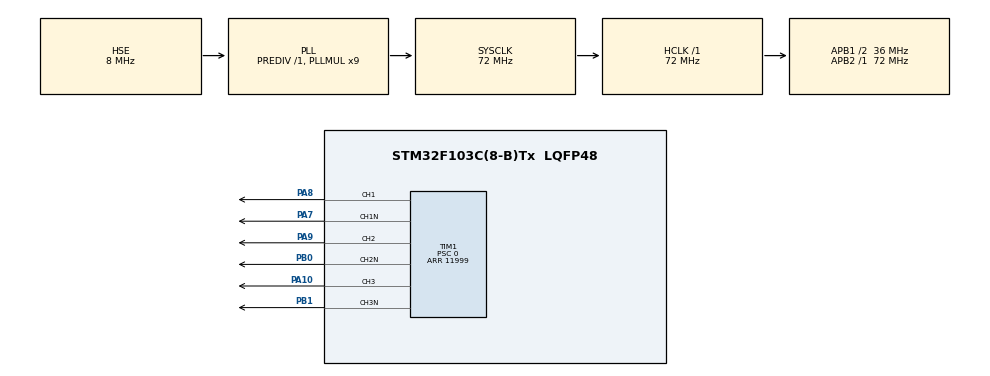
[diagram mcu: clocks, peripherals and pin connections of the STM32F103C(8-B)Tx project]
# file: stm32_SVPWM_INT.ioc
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Mcu.Family=STM32F1
Mcu.Name=STM32F103C(8-B)Tx
Mcu.Package=LQFP48
NVIC.PriorityGroup=NVIC_PRIORITYGROUP_4
NVIC.TIM1_CC_IRQn=true\:0\:0\:false\:false\:true\:true\:true\:true
NVIC.TIM1_TRG_COM_IRQn=true\:0\:0\:false\:false\:true\:true\:true\:true
NVIC.TIM1_UP_IRQn=true\:0\:0\:false\:false\:true\:true\:true\:true
NVIC.TIM2_IRQn=true\:0\:0\:false\:false\:true\:true\:true\:true
PA10.Signal=S_TIM1_CH3
PA7.Mode=PWM Generation1 CH1 CH1N
PA7.Signal=TIM1_CH1N
PA8.Signal=S_TIM1_CH1
PA9.Signal=S_TIM1_CH2
PB0.Mode=PWM Generation2 CH2 CH2N
PB0.Signal=TIM1_CH2N
PB1.Mode=PWM Generation3 CH3 CH3N
PB1.Signal=TIM1_CH3N
PD0-OSC_IN.Mode=HSE-External-Oscillator
PD0-OSC_IN.Signal=RCC_OSC_IN
PD1-OSC_OUT.Mode=HSE-External-Oscillator
PD1-OSC_OUT.Signal=RCC_OSC_OUT
ProjectManager.HeapSize=0x200
ProjectManager.StackSize=0x400
ProjectManager.TargetToolchain=STM32CubeIDE
RCC.AHBFreq_Value=72000000
RCC.APB1CLKDivider=RCC_HCLK_DIV2
RCC.APB1Freq_Value=36000000
RCC.APB1TimFreq_Value=72000000
RCC.APB2Freq_Value=72000000
RCC.APB2TimFreq_Value=72000000
RCC.HCLKFreq_Value=72000000
RCC.PLLMUL=RCC_PLL_MUL9
RCC.PLLSourceVirtual=RCC_PLLSOURCE_HSE
RCC.SYSCLKFreq_VALUE=72000000
RCC.SYSCLKSource=RCC_SYSCLKSOURCE_PLLCLK
RCC.USBFreq_Value=72000000
SH.S_TIM1_CH1.0=TIM1_CH1,PWM Generation1 CH1 CH1N
SH.S_TIM1_CH2.0=TIM1_CH2,PWM Generation2 CH2 CH2N
SH.S_TIM1_CH3.0=TIM1_CH3,PWM Generation3 CH3 CH3N
TIM1.Channel-PWM\ Generation1\ CH1\ CH1N=TIM_CHANNEL_1
TIM1.Channel-PWM\ Generation2\ CH2\ CH2N=TIM_CHANNEL_2
TIM1.Channel-PWM\ Generation3\ CH3\ CH3N=TIM_CHANNEL_3
TIM1.CounterMode=TIM_COUNTERMODE_CENTERALIGNED3
TIM1.DeadTime=172
TIM1.Period=11999
TIM1.Prescaler=0
TIM1.TIM_MasterOutputTrigger=TIM_TRGO_ENABLE
TIM2.CounterMode=TIM_COUNTERMODE_CENTERALIGNED3
TIM2.Period=19999
TIM2.Prescaler=0
TIM2.TIM_MasterOutputTrigger=TIM_TRGO_UPDATE
VP_TIM1_VS_ClockSourceINT.Mode=Internal
VP_TIM2_VS_ClockSourceINT.Mode=Internal
VP_TIM2_VS_ClockSourceITR.Mode=TriggerSource_ITR0
VP_TIM2_VS_ControllerModeTrigger.Mode=Trigger Mode
VP_TIM3_VS_ClockSourceINT.Mode=Internal
board=custom

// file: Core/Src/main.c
/* USER CODE BEGIN Header */
/**
  ******************************************************************************
  * @file           : main.c
  * @brief          : Main program body
  ******************************************************************************
  * @attention
  *
  * Copyright (c) 2024 STMicroelectronics.
  * All rights reserved.
  *
  * This software is licensed under terms that can be found in the LICENSE file
  * in the root directory of this software component.
  * If no LICENSE file comes with this software, it is provided AS-IS.
  *
  ******************************************************************************
  */
/* USER CODE END Header */
#include "main.h"

/* USER CODE BEGIN Includes */
#include "math.h"
/* USER CODE END Includes */

/* USER CODE BEGIN PD */
#define FSW 37500.00
#define PI 3.14159265358979323846
/* USER CODE END PD */

TIM_HandleTypeDef htim1;
TIM_HandleTypeDef htim2;
TIM_HandleTypeDef htim3;

/* USER CODE BEGIN PV */
uint16_t sinValues[5000]; // Size depends on frequency

uint32_t da = 0;
uint32_t db = 0;
uint32_t d0 = 0;

uint32_t counter_sec = 0;
uint32_t sector = 0;
uint32_t counter0 = 0;

uint32_t N0 = 1250;//30000; // Size depends on frequency
uint32_t N;

double freq0 = 60;
double freq = 60;

double m = 1.00;
/* USER CODE END PV */

void SystemClock_Config(void);
static void MX_GPIO_Init(void);
static void MX_TIM1_Init(void);
static void MX_TIM2_Init(void);
static void MX_TIM3_Init(void);
/* USER CODE BEGIN PFP */
void sineValuesGeneration(void);
/* USER CODE END PFP */

int main(void)
{

  /* MCU Configuration--------------------------------------------------------*/

  /* Reset of all peripherals, Initializes the Flash interface and the Systick. */
  HAL_Init();

  /* Configure the system clock */
  SystemClock_Config();

  /* Initialize all configured peripherals */
  MX_GPIO_Init();
  MX_TIM1_Init();
  MX_TIM2_Init();
  MX_TIM3_Init();
  /* USER CODE BEGIN 2 */
  sineValuesGeneration();

  HAL_TIM_Base_Start_IT(&htim2);
  HAL_Delay(250);

  HAL_TIM_PWM_Start(&htim1, TIM_CHANNEL_1);
  HAL_TIMEx_PWMN_Start(&htim1, TIM_CHANNEL_1);

  HAL_TIM_PWM_Start(&htim1, TIM_CHANNEL_2);
  HAL_TIMEx_PWMN_Start(&htim1, TIM_CHANNEL_2);

  HAL_TIM_PWM_Start(&htim1, TIM_CHANNEL_3);
  HAL_TIMEx_PWMN_Start(&htim1, TIM_CHANNEL_3);
  /* USER CODE END 2 */

  /* Infinite loop */
  while (1)
  {

  }
}

void SystemClock_Config(void)
{
  RCC_OscInitTypeDef RCC_OscInitStruct = {0};
  RCC_ClkInitTypeDef RCC_ClkInitStruct = {0};

  /** Initializes the RCC Oscillators according to the specified parameters
  * in the RCC_OscInitTypeDef structure.
  */
  RCC_OscInitStruct.OscillatorType = RCC_OSCILLATORTYPE_HSE;
  RCC_OscInitStruct.HSEState = RCC_HSE_ON;
  RCC_OscInitStruct.HSEPredivValue = RCC_HSE_PREDIV_DIV1;
  RCC_OscInitStruct.HSIState = RCC_HSI_ON;
  RCC_OscInitStruct.PLL.PLLState = RCC_PLL_ON;
  RCC_OscInitStruct.PLL.PLLSource = RCC_PLLSOURCE_HSE;
  RCC_OscInitStruct.PLL.PLLMUL = RCC_PLL_MUL9;
  if (HAL_RCC_OscConfig(&RCC_OscInitStruct) != HAL_OK)
  {
    Error_Handler();
  }

  /** Initializes the CPU, AHB and APB buses clocks
  */
  RCC_ClkInitStruct.ClockType = RCC_CLOCKTYPE_HCLK|RCC_CLOCKTYPE_SYSCLK
                              |RCC_CLOCKTYPE_PCLK1|RCC_CLOCKTYPE_PCLK2;
  RCC_ClkInitStruct.SYSCLKSource = RCC_SYSCLKSOURCE_PLLCLK;
  RCC_ClkInitStruct.AHBCLKDivider = RCC_SYSCLK_DIV1;
  RCC_ClkInitStruct.APB1CLKDivider = RCC_HCLK_DIV2;
  RCC_ClkInitStruct.APB2CLKDivider = RCC_HCLK_DIV1;

  if (HAL_RCC_ClockConfig(&RCC_ClkInitStruct, FLASH_LATENCY_2) != HAL_OK)
  {
    Error_Handler();
  }
}

static void MX_TIM1_Init(void)
{

  TIM_ClockConfigTypeDef sClockSourceConfig = {0};
  TIM_MasterConfigTypeDef sMasterConfig = {0};
  TIM_OC_InitTypeDef sConfigOC = {0};
  TIM_BreakDeadTimeConfigTypeDef sBreakDeadTimeConfig = {0};

  htim1.Instance = TIM1;
  htim1.Init.Prescaler = 0;
  htim1.Init.CounterMode = TIM_COUNTERMODE_CENTERALIGNED3;
  htim1.Init.Period = 11999;
  htim1.Init.ClockDivision = TIM_CLOCKDIVISION_DIV1;
  htim1.Init.RepetitionCounter = 0;
  htim1.Init.AutoReloadPreload = TIM_AUTORELOAD_PRELOAD_DISABLE;
  if (HAL_TIM_Base_Init(&htim1) != HAL_OK)
  {
    Error_Handler();
  }
  sClockSourceConfig.ClockSource = TIM_CLOCKSOURCE_INTERNAL;
  if (HAL_TIM_ConfigClockSource(&htim1, &sClockSourceConfig) != HAL_OK)
  {
    Error_Handler();
  }
  if (HAL_TIM_PWM_Init(&htim1) != HAL_OK)
  {
    Error_Handler();
  }
  sMasterConfig.MasterOutputTrigger = TIM_TRGO_ENABLE;
  sMasterConfig.MasterSlaveMode = TIM_MASTERSLAVEMODE_DISABLE;
  if (HAL_TIMEx_MasterConfigSynchronization(&htim1, &sMasterConfig) != HAL_OK)
  {
    Error_Handler();
  }
  sConfigOC.OCMode = TIM_OCMODE_PWM1;
  sConfigOC.Pulse = 0;
  sConfigOC.OCPolarity = TIM_OCPOLARITY_HIGH;
  sConfigOC.OCNPolarity = TIM_OCNPOLARITY_HIGH;
  sConfigOC.OCFastMode = TIM_OCFAST_DISABLE;
  sConfigOC.OCIdleState = TIM_OCIDLESTATE_RESET;
  sConfigOC.OCNIdleState = TIM_OCNIDLESTATE_RESET;
  if (HAL_TIM_PWM_ConfigChannel(&htim1, &sConfigOC, TIM_CHANNEL_1) != HAL_OK)
  {
    Error_Handler();
  }
  if (HAL_TIM_PWM_ConfigChannel(&htim1, &sConfigOC, TIM_CHANNEL_2) != HAL_OK)
  {
    Error_Handler();
  }
  if (HAL_TIM_PWM_ConfigChannel(&htim1, &sConfigOC, TIM_CHANNEL_3) != HAL_OK)
  {
    Error_Handler();
  }
  sBreakDeadTimeConfig.OffStateRunMode = TIM_OSSR_DISABLE;
  sBreakDeadTimeConfig.OffStateIDLEMode = TIM_OSSI_DISABLE;
  sBreakDeadTimeConfig.LockLevel = TIM_LOCKLEVEL_OFF;
  sBreakDeadTimeConfig.DeadTime = 172;
  sBreakDeadTimeConfig.BreakState = TIM_BREAK_DISABLE;
  sBreakDeadTimeConfig.BreakPolarity = TIM_BREAKPOLARITY_HIGH;
  sBreakDeadTimeConfig.AutomaticOutput = TIM_AUTOMATICOUTPUT_DISABLE;
  if (HAL_TIMEx_ConfigBreakDeadTime(&htim1, &sBreakDeadTimeConfig) != HAL_OK)
  {
    Error_Handler();
  }
  HAL_TIM_MspPostInit(&htim1);

}

static void MX_TIM2_Init(void)
{

  TIM_ClockConfigTypeDef sClockSourceConfig = {0};
  TIM_SlaveConfigTypeDef sSlaveConfig = {0};
  TIM_MasterConfigTypeDef sMasterConfig = {0};

  htim2.Instance = TIM2;
  htim2.Init.Prescaler = 0;
  htim2.Init.CounterMode = TIM_COUNTERMODE_CENTERALIGNED3;
  htim2.Init.Period = 19999;
  htim2.Init.ClockDivision = TIM_CLOCKDIVISION_DIV1;
  htim2.Init.AutoReloadPreload = TIM_AUTORELOAD_PRELOAD_DISABLE;
  if (HAL_TIM_Base_Init(&htim2) != HAL_OK)
  {
    Error_Handler();
  }
  sClockSourceConfig.ClockSource = TIM_CLOCKSOURCE_INTERNAL;
  if (HAL_TIM_ConfigClockSource(&htim2, &sClockSourceConfig) != HAL_OK)
  {
    Error_Handler();
  }
  sSlaveConfig.SlaveMode = TIM_SLAVEMODE_TRIGGER;
  sSlaveConfig.InputTrigger = TIM_TS_ITR0;
  if (HAL_TIM_SlaveConfigSynchro(&htim2, &sSlaveConfig) != HAL_OK)
  {
    Error_Handler();
  }
  sMasterConfig.MasterOutputTrigger = TIM_TRGO_UPDATE;
  sMasterConfig.MasterSlaveMode = TIM_MASTERSLAVEMODE_DISABLE;
  if (HAL_TIMEx_MasterConfigSynchronization(&htim2, &sMasterConfig) != HAL_OK)
  {
    Error_Handler();
  }

}

static void MX_TIM3_Init(void)
{

  TIM_ClockConfigTypeDef sClockSourceConfig = {0};
  TIM_MasterConfigTypeDef sMasterConfig = {0};

  htim3.Instance = TIM3;
  htim3.Init.Prescaler = 0;
  htim3.Init.CounterMode = TIM_COUNTERMODE_UP;
  htim3.Init.Period = 65535;
  htim3.Init.ClockDivision = TIM_CLOCKDIVISION_DIV1;
  htim3.Init.AutoReloadPreload = TIM_AUTORELOAD_PRELOAD_DISABLE;
  if (HAL_TIM_Base_Init(&htim3) != HAL_OK)
  {
    Error_Handler();
  }
  sClockSourceConfig.ClockSource = TIM_CLOCKSOURCE_INTERNAL;
  if (HAL_TIM_ConfigClockSource(&htim3, &sClockSourceConfig) != HAL_OK)
  {
    Error_Handler();
  }
  sMasterConfig.MasterOutputTrigger = TIM_TRGO_RESET;
  sMasterConfig.MasterSlaveMode = TIM_MASTERSLAVEMODE_DISABLE;
  if (HAL_TIMEx_MasterConfigSynchronization(&htim3, &sMasterConfig) != HAL_OK)
  {
    Error_Handler();
  }

}

static void MX_GPIO_Init(void)
{

  /* GPIO Ports Clock Enable */
  __HAL_RCC_GPIOD_CLK_ENABLE();
  __HAL_RCC_GPIOA_CLK_ENABLE();
  __HAL_RCC_GPIOB_CLK_ENABLE();

}

/* USER CODE BEGIN 4 */
/**
  * @brief  This function pre-generates the sine values for modulator signal.
  * @retval None
  */
void sineValuesGeneration(void){
	// Number of samples for one period
	N  = 2*floor(FSW/freq);  // For generated frequency (f).
	N0 = 2*floor(FSW/freq0); // For base frequency (f0).

	// Generation of sinusoidal reference wave
	for(uint16_t i = 0; i < N0/6; i++){
		sinValues[i] = round(959.00*m*sin(2*PI*(float)i/N0));
	}
}

//void changeFrequency(double f){
//	freq = f;
//	N  = 2*floor(FSW/freq);
//}

void HAL_TIM_PeriodElapsedCallback(TIM_HandleTypeDef *htim){
	// Conditioning of counter
	//counter0 = round((double)N0*(double)counter/(double)N);

	// Periods
	da = sinValues[N/6 - counter_sec - 1];
	db = sinValues[counter_sec];
	d0 = 959 - da - db;

	// Periods
	switch(sector){
		case 0:
			TIM1->CCR1 = da + db + d0/2;
			TIM1->CCR2 = db + d0/2;
			TIM1->CCR3 = d0/2;
			break;
		case 1:
			TIM1->CCR1 = da + d0/2;
			TIM1->CCR2 = db + da + d0/2;
			TIM1->CCR3 = d0/2;
			break;
		case 2:
			TIM1->CCR1 = d0/2;
			TIM1->CCR2 = da + db + d0/2;
			TIM1->CCR3 = db + d0/2;
			break;
		case 3:
			TIM1->CCR1 = d0/2;
			TIM1->CCR2 = da + d0/2;
			TIM1->CCR3 = db + da + d0/2;
			break;
		case 4:
			TIM1->CCR1 = db + d0/2;
			TIM1->CCR2 = d0/2;
			TIM1->CCR3 = da + db + d0/2;
			break;
		case 5:
			TIM1->CCR1 = db + da + d0/2;
			TIM1->CCR2 = d0/2;
			TIM1->CCR3 = da + d0/2;
			break;
	}

	counter_sec++;
	if(counter_sec >= N/6){
		sector++;
		counter_sec = 0;
	}
	if(sector > 5){
		sector = 0;
	}
}
/* USER CODE END 4 */

void Error_Handler(void)
{
  __disable_irq();
  while (1)
  {
  }
}
